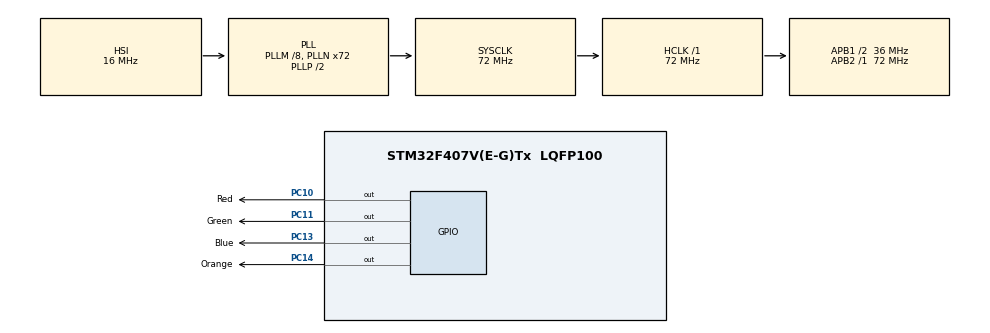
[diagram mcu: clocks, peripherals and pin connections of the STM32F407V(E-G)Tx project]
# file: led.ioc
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FREERTOS.Tasks01=Blue,0,128,StartBlueTask,Default,NULL,Dynamic,NULL,NULL;Orange,-1,128,StartOrangeTask,Default,NULL,Dynamic,NULL,NULL;Green,-2,128,StartGreenTask,Default,NULL,Dynamic,NULL,NULL;Red,-3,128,StartRedTask,Default,NULL,Dynamic,NULL,NULL
FREERTOS.configIDLE_SHOULD_YIELD=0
Mcu.Family=STM32F4
Mcu.Name=STM32F407V(E-G)Tx
Mcu.Package=LQFP100
NVIC.PriorityGroup=NVIC_PRIORITYGROUP_4
NVIC.TIM1_UP_TIM10_IRQn=true\:15\:0\:false\:false\:true\:false\:false\:true\:true
NVIC.TimeBase=TIM1_UP_TIM10_IRQn
NVIC.TimeBaseIP=TIM1
PA13.Mode=JTAG_4_pins
PA13.Signal=SYS_JTMS-SWDIO
PA14.Mode=JTAG_4_pins
PA14.Signal=SYS_JTCK-SWCLK
PA15.Mode=JTAG_4_pins
PA15.Signal=SYS_JTDI
PB3.Mode=JTAG_4_pins
PB3.Signal=SYS_JTDO-SWO
PC10.GPIO_Label=Red
PC10.Signal=GPIO_Output
PC11.GPIO_Label=Green
PC11.PinState=GPIO_PIN_RESET
PC11.Signal=GPIO_Output
PC13-ANTI_TAMP.GPIO_Label=Blue
PC13-ANTI_TAMP.Signal=GPIO_Output
PC14-OSC32_IN.GPIO_Label=Orange
PC14-OSC32_IN.PinState=GPIO_PIN_RESET
PC14-OSC32_IN.Signal=GPIO_Output
PH0-OSC_IN.Mode=HSE-External-Oscillator
PH0-OSC_IN.Signal=RCC_OSC_IN
PH1-OSC_OUT.Mode=HSE-External-Oscillator
PH1-OSC_OUT.Signal=RCC_OSC_OUT
ProjectManager.HeapSize=0x200
ProjectManager.StackSize=0x400
ProjectManager.TargetToolchain=MDK-ARM V5.32
RCC.48MHZClocksFreq_Value=36000000
RCC.AHBFreq_Value=72000000
RCC.APB1CLKDivider=RCC_HCLK_DIV2
RCC.APB1Freq_Value=36000000
RCC.APB1TimFreq_Value=72000000
RCC.APB2Freq_Value=72000000
RCC.APB2TimFreq_Value=72000000
RCC.CortexFreq_Value=72000000
RCC.HCLKFreq_Value=72000000
RCC.HSE_VALUE=25000000
RCC.HSI_VALUE=16000000
RCC.LSE_VALUE=32768
RCC.PLLM=8
RCC.PLLN=72
RCC.SYSCLKFreq_VALUE=72000000
RCC.SYSCLKSource=RCC_SYSCLKSOURCE_PLLCLK
RCC.VCOOutputFreq_Value=144000000
VP_FREERTOS_VS_CMSIS_V1.Mode=CMSIS_V1
VP_SYS_VS_tim1.Mode=TIM1
board=custom

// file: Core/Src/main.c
/* USER CODE BEGIN Header */
/**
  ******************************************************************************
  * @file           : main.c
  * @brief          : Main program body
  ******************************************************************************
  * @attention
  *
  * Copyright (c) 2023 STMicroelectronics.
  * All rights reserved.
  *
  * This software is licensed under terms that can be found in the LICENSE file
  * in the root directory of this software component.
  * If no LICENSE file comes with this software, it is provided AS-IS.
  *
  ******************************************************************************
  */
/* USER CODE END Header */
#include "main.h"
#include "cmsis_os.h"
#include "OLED.H"

osThreadId BlueHandle;
osThreadId OrangeHandle;
osThreadId GreenHandle;
osThreadId RedHandle;

void SystemClock_Config(void);
static void MX_GPIO_Init(void);
void StartBlueTask(void const * argument);
void StartOrangeTask(void const * argument);
void StartGreenTask(void const * argument);
void StartRedTask(void const * argument);

int main(void)
{

  /* MCU Configuration--------------------------------------------------------*/

  /* Reset of all peripherals, Initializes the Flash interface and the Systick. */
  HAL_Init();

  /* Configure the system clock */
  SystemClock_Config();

  /* Initialize all configured peripherals */
  MX_GPIO_Init();
  /* USER CODE BEGIN 2 */
  OLED_Init();
//	OLED_ShowString(1, 1, "X");
//	OLED_ShowChar(1, 7, 'Y');
//	OLED_ShowChar(2, 1, 'Z');
//	OLED_ShowString(3, 1, "e");

  /* USER CODE END 2 */

  /* Create the thread(s) */
  /* definition and creation of Blue */
  osThreadDef(Blue, StartBlueTask, osPriorityNormal, 0, 128);
  BlueHandle = osThreadCreate(osThread(Blue), NULL);

  /* definition and creation of Orange */
  osThreadDef(Orange, StartOrangeTask, osPriorityBelowNormal, 0, 128);
  OrangeHandle = osThreadCreate(osThread(Orange), NULL);

  /* definition and creation of Green */
  osThreadDef(Green, StartGreenTask, osPriorityLow, 0, 128);
  GreenHandle = osThreadCreate(osThread(Green), NULL);

  /* definition and creation of Red */
  osThreadDef(Red, StartRedTask, osPriorityIdle, 0, 128);
  RedHandle = osThreadCreate(osThread(Red), NULL);

  /* USER CODE BEGIN RTOS_THREADS */
  /* add threads, ... */
  HAL_GPIO_WritePin(GPIOC, Blue_Pin, GPIO_PIN_SET);
  HAL_GPIO_WritePin(GPIOC, Orange_Pin, GPIO_PIN_SET);
  HAL_GPIO_WritePin(GPIOC, Green_Pin, GPIO_PIN_SET);
  HAL_GPIO_WritePin(GPIOC, Red_Pin, GPIO_PIN_SET);
  /* USER CODE END RTOS_THREADS */

  /* Start scheduler */
  osKernelStart();

  /* We should never get here as control is now taken by the scheduler */
  /* Infinite loop */
  while (1)
  {

	  HAL_Delay(1);
  }
}

void SystemClock_Config(void)
{
  RCC_OscInitTypeDef RCC_OscInitStruct = {0};
  RCC_ClkInitTypeDef RCC_ClkInitStruct = {0};

  /** Configure the main internal regulator output voltage
  */
  __HAL_RCC_PWR_CLK_ENABLE();
  __HAL_PWR_VOLTAGESCALING_CONFIG(PWR_REGULATOR_VOLTAGE_SCALE1);

  /** Initializes the RCC Oscillators according to the specified parameters
  * in the RCC_OscInitTypeDef structure.
  */
  RCC_OscInitStruct.OscillatorType = RCC_OSCILLATORTYPE_HSI;
  RCC_OscInitStruct.HSIState = RCC_HSI_ON;
  RCC_OscInitStruct.HSICalibrationValue = RCC_HSICALIBRATION_DEFAULT;
  RCC_OscInitStruct.PLL.PLLState = RCC_PLL_ON;
  RCC_OscInitStruct.PLL.PLLSource = RCC_PLLSOURCE_HSI;
  RCC_OscInitStruct.PLL.PLLM = 8;
  RCC_OscInitStruct.PLL.PLLN = 72;
  RCC_OscInitStruct.PLL.PLLP = RCC_PLLP_DIV2;
  RCC_OscInitStruct.PLL.PLLQ = 4;
  if (HAL_RCC_OscConfig(&RCC_OscInitStruct) != HAL_OK)
  {
    Error_Handler();
  }

  /** Initializes the CPU, AHB and APB buses clocks
  */
  RCC_ClkInitStruct.ClockType = RCC_CLOCKTYPE_HCLK|RCC_CLOCKTYPE_SYSCLK
                              |RCC_CLOCKTYPE_PCLK1|RCC_CLOCKTYPE_PCLK2;
  RCC_ClkInitStruct.SYSCLKSource = RCC_SYSCLKSOURCE_PLLCLK;
  RCC_ClkInitStruct.AHBCLKDivider = RCC_SYSCLK_DIV1;
  RCC_ClkInitStruct.APB1CLKDivider = RCC_HCLK_DIV2;
  RCC_ClkInitStruct.APB2CLKDivider = RCC_HCLK_DIV1;

  if (HAL_RCC_ClockConfig(&RCC_ClkInitStruct, FLASH_LATENCY_2) != HAL_OK)
  {
    Error_Handler();
  }
}

static void MX_GPIO_Init(void)
{
  GPIO_InitTypeDef GPIO_InitStruct = {0};

  /* GPIO Ports Clock Enable */
  __HAL_RCC_GPIOC_CLK_ENABLE();
  __HAL_RCC_GPIOH_CLK_ENABLE();
  __HAL_RCC_GPIOA_CLK_ENABLE();
  __HAL_RCC_GPIOB_CLK_ENABLE();

  /*Configure GPIO pin Output Level */
  HAL_GPIO_WritePin(GPIOC, Blue_Pin|Orange_Pin|Red_Pin|Green_Pin, GPIO_PIN_RESET);

  /*Configure GPIO pins : Blue_Pin Orange_Pin Red_Pin Green_Pin */
  GPIO_InitStruct.Pin = Blue_Pin|Orange_Pin|Red_Pin|Green_Pin;
  GPIO_InitStruct.Mode = GPIO_MODE_OUTPUT_PP;
  GPIO_InitStruct.Pull = GPIO_NOPULL;
  GPIO_InitStruct.Speed = GPIO_SPEED_FREQ_LOW;
  HAL_GPIO_Init(GPIOC, &GPIO_InitStruct);

}

void StartBlueTask(void const * argument)
{
  /* USER CODE BEGIN 5 */
  /* Infinite loop */
	for(;;)
	{
		HAL_GPIO_WritePin(GPIOC, Blue_Pin, GPIO_PIN_RESET);
		osDelay(500);
        HAL_GPIO_WritePin(GPIOC, Blue_Pin, GPIO_PIN_SET);
        osDelay(1500);
	}
  /* USER CODE END 5 */
}

void StartOrangeTask(void const * argument)
{
  /* USER CODE BEGIN StartOrangeTask */
  /* Infinite loop */
	for(;;)
	{
        osDelay(500);
        HAL_GPIO_WritePin(GPIOC, Orange_Pin, GPIO_PIN_RESET);
        osDelay(500);
        HAL_GPIO_WritePin(GPIOC, Orange_Pin, GPIO_PIN_SET);
        osDelay(1000);
	}
  /* USER CODE END StartOrangeTask */
}

void StartGreenTask(void const * argument)
{
  /* USER CODE BEGIN StartGreenTask */
  /* Infinite loop */
	for(;;)
    {
	    osDelay(1000);
        HAL_GPIO_WritePin(GPIOC, Green_Pin, GPIO_PIN_RESET);
		osDelay(500);
        HAL_GPIO_WritePin(GPIOC, Green_Pin, GPIO_PIN_SET);
        osDelay(500);
   }
  /* USER CODE END StartGreenTask */
}

void StartRedTask(void const * argument)
{
  /* USER CODE BEGIN StartRedTask */
  /* Infinite loop */
    for(;;)
    {
        osDelay(1500);
        HAL_GPIO_WritePin(GPIOC, Red_Pin, GPIO_PIN_RESET);
        osDelay(500);
        HAL_GPIO_WritePin(GPIOC, Red_Pin, GPIO_PIN_SET);
    }
  /* USER CODE END StartRedTask */
}

void HAL_TIM_PeriodElapsedCallback(TIM_HandleTypeDef *htim)
{
  if (htim->Instance == TIM1) {
    HAL_IncTick();
  }
}

void Error_Handler(void)
{
  __disable_irq();
  while (1)
  {
  }
}
